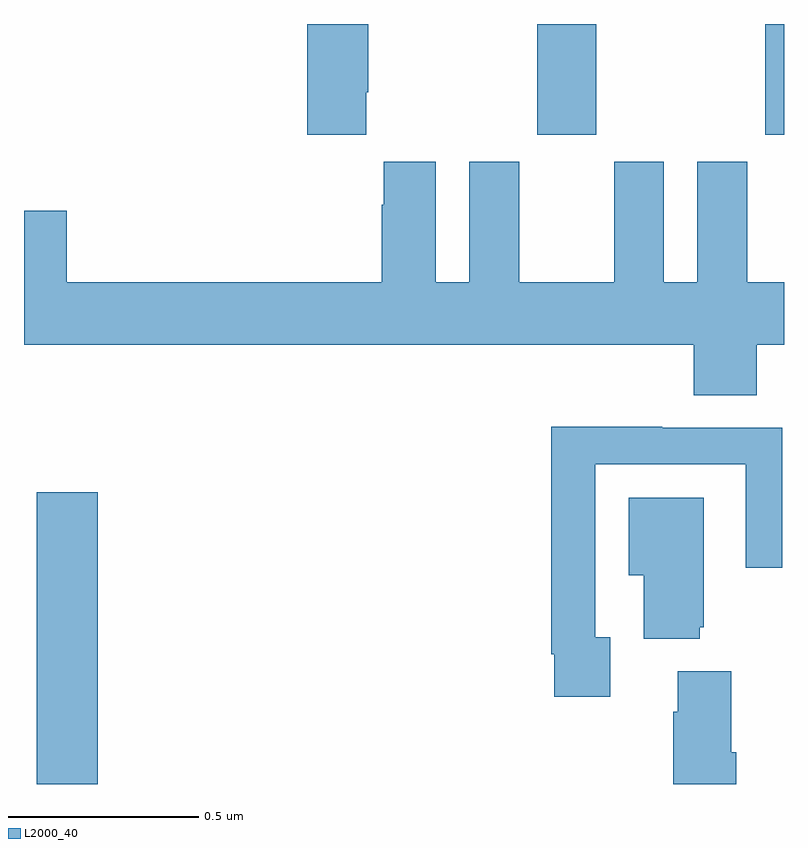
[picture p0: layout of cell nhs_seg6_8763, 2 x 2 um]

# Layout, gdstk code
import gdstk
lib = gdstk.Library(unit=1e-6, precision=1e-09)
def R(c, l, rs):  # rectangles x0, y0, x1, y1
    for r in rs: c.add(gdstk.rectangle(r[:2], r[2:], *l))
def P(c, l, *ps):  # polygons
    for p in ps: c.add(gdstk.Polygon(p, *l))
L2000_40 = (2000, 40)

nhs_seg6_8763 = lib.new_cell('nhs_seg6_8763')
R(nhs_seg6_8763, L2000_40, [(225.034,959.5,225.194,960.268), (226.351,961.209,226.506,961.5), (226.951,961.209,227,961.5)])
P(nhs_seg6_8763, L2000_40, [(225.901,961.321),(225.906,961.321),(225.906,961.5),(225.746,961.5),(225.746,961.209),(225.901,961.209)],
  [(226.928,960.656),(227,960.656),(227,960.82),(226.903,960.82),(226.903,961.138),(226.772,961.138),(226.772,960.82),(226.684,960.82),(226.684,961.138),(226.553,961.138),(226.553,960.82),(226.303,960.82),(226.303,961.138),(226.172,961.138),(226.172,960.82),(226.084,960.82),(226.084,961.138),(225.947,961.138),(225.947,961.025),(225.941,961.025),(225.941,960.82),(225.112,960.82),(225.112,961.009),(225,961.009),(225,960.656),(226.763,960.656),(226.763,960.523),(226.928,960.523)],
  [(226.543,959.886),(226.503,959.886),(226.503,960.342),(226.899,960.342),(226.899,960.069),(226.995,960.069),(226.995,960.438),(226.679,960.438),(226.679,960.44),(226.387,960.44),(226.387,959.842),(226.395,959.842),(226.395,959.73),(226.543,959.73)],
  [(226.778,959.913),(226.789,959.913),(226.789,960.253),(226.592,960.253),(226.592,960.05),(226.631,960.05),(226.631,959.882),(226.778,959.882)],
  [(226.874,959.584),(226.861,959.584),(226.861,959.797),(226.721,959.797),(226.721,959.69),(226.709,959.69),(226.709,959.5),(226.874,959.5)])

lib.write_gds('nhs_seg6_8763.gds')
